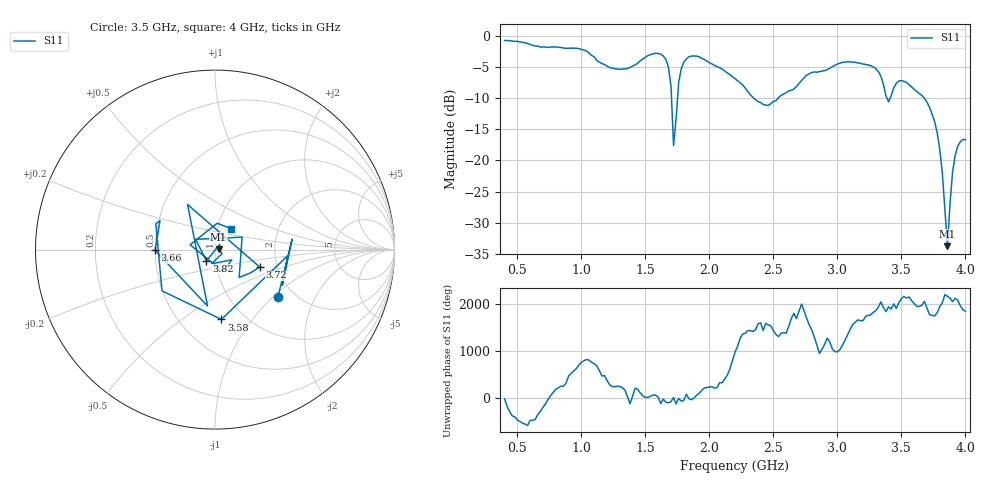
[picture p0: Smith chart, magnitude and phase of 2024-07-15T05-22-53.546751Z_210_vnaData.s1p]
!Created with skrf (http://scikit-rf.org).
# Hz S RI R 50.0
!freq ReS11 ImS11
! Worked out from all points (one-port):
!   181 points, 400 MHz to 4 GHz, reference 50 ohm
!   lowest |S11| = -33.8 dB at 3.86 GHz (marker M1), VSWR 1.04, Z = 52.1 + j0.358 ohm
!   |S11| at or under -10 dB: 1.704 GHz to 1.751 GHz (46.99 MHz wide, 2.72 % of centre); 2.349 GHz to 2.535 GHz (186.2 MHz wide, 7.63 % of centre); 3.681 GHz to end of sweep (the widest 3 of 4)
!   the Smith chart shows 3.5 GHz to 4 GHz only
!   S11 on the Smith chart (normalised r, x): 3.5 GHz: 1.64, -1.08; 3.58 GHz: 0.78, -0.72; 3.66 GHz: 0.50, -0.00; 3.72 GHz: 1.62, -0.34; 3.82 GHz: 0.90, -0.11; 4 GHz: 1.16, +0.28
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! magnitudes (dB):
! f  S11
! 400 MHz  -0.7
! 860 MHz  -1.9
! 1.3 GHz  -5.3
! 1.58 GHz  -2.7
! 1.66 GHz  -3.7
! 1.7 GHz  -8.0
! 1.72 GHz  -17.6
! 1.76 GHz  -7.4
! 1.8 GHz  -4.2
! 1.86 GHz  -3.2
! 2.2 GHz  -6.8
! 2.44 GHz  -11.1
! 2.66 GHz  -8.5
! 2.8 GHz  -5.8
! 3.1 GHz  -4.1
! 3.3 GHz  -5.2
! 3.4 GHz  -10.6
! 3.5 GHz  -7.1
! 3.56 GHz  -7.8
! 3.58 GHz  -8.2
! 3.66 GHz  -9.5
! 3.72 GHz  -11.4
! 3.78 GHz  -15.6
! 3.82 GHz  -22.1
! 3.86 GHz  -33.8
! 3.9 GHz  -21.8
! 3.92 GHz  -19.2
! 4 GHz  -16.7
